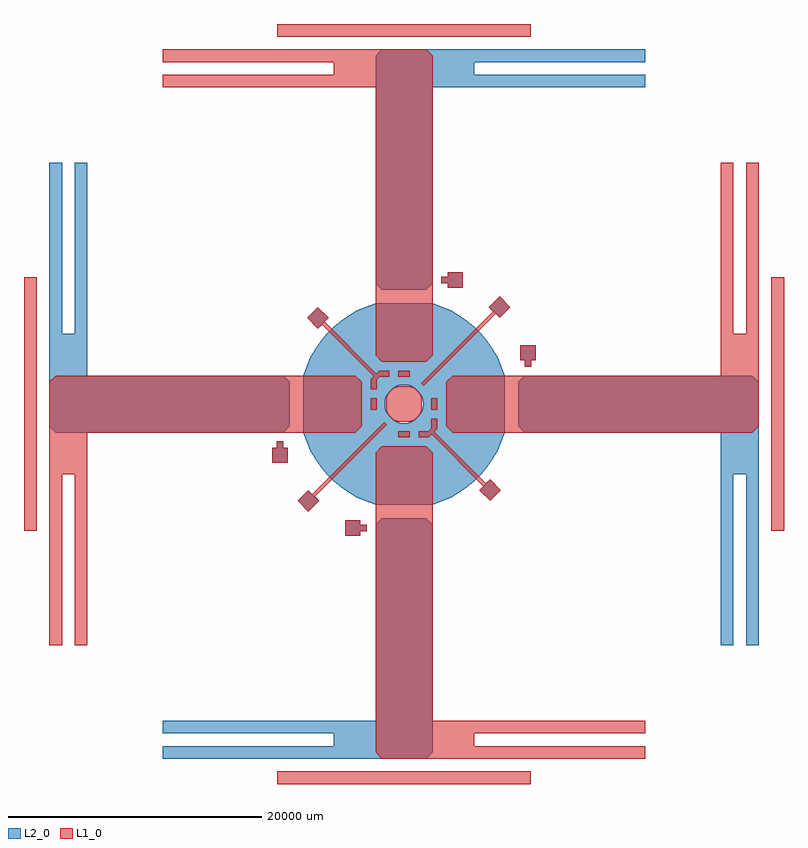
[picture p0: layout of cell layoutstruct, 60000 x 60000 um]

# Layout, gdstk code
import gdstk
lib = gdstk.Library(unit=1e-6, precision=1e-09)
def R(c, l, rs):  # rectangles x0, y0, x1, y1
    for r in rs: c.add(gdstk.rectangle(r[:2], r[2:], *l))
def P(c, l, *ps):  # polygons
    for p in ps: c.add(gdstk.Polygon(p, *l))
L1_0 = (1, 0)
L2_0 = (2, 0)

layoutstruct = lib.new_cell('layoutstruct')
R(layoutstruct, L1_0, [(-10000,-30000,10000,-29000), (-30000,-10000,-29000,10000), (29000,-10000,30000,10000), (-450,-2632.107,450,-2132.107), (-2632.107,-450,-2132.107,450), (2132.107,-450,2632.107,450), (-450,2132.107,450,2632.107), (-10000,29000,10000,30000)])
P(layoutstruct, L1_0, [(-3350,-1750),(-3350,1750),(-3850,2250),(-27500,2250),(-28000,1750),(-28000,-19050),(-27000,-19050),(-27000,-5550),(-26000,-5550),(-26000,-19050),(-25000,-19050),(-25000,-2250),(-3850,-2250)],
  [(1750,-3350),(-1750,-3350),(-2250,-3850),(-2250,-27500),(-1750,-28000),(19050,-28000),(19050,-27000),(5550,-27000),(5550,-26000),(19050,-26000),(19050,-25000),(2250,-25000),(2250,-3850)],
  [(-1750,3350),(1750,3350),(2250,3850),(2250,27500),(1750,28000),(-19050,28000),(-19050,27000),(-5550,27000),(-5550,26000),(-19050,26000),(-19050,25000),(-2250,25000),(-2250,3850)],
  [(1414.214,-500),(1414.214,500),(1268.793,800.103),(1060.66,1060.66),(800.103,1268.793),(500,1414.214),(-500,1414.214),(-800.103,1268.793),(-1060.66,1060.66),(-1268.793,800.103),(-1414.214,500),(-1414.214,-500),(-1268.793,-800.103),(-1060.66,-1060.66),(-800.103,-1268.793),(-500,-1414.214),(500,-1414.214),(800.103,-1268.793),(1060.66,-1060.66),(1268.793,-800.103)],
  [(3350,1750),(3350,-1750),(3850,-2250),(27500,-2250),(28000,-1750),(28000,19050),(27000,19050),(27000,5550),(26000,5550),(26000,19050),(25000,19050),(25000,2250),(3850,2250)],
  [(8398.528,7650),(7550,8498.528),(6701.472,7650),(7029.67,7321.802),(1363.934,1656.066),(1576.066,1443.934),(7241.802,7109.67),(7550,6801.472)],
  [(2132.107,-1932.045),(1907.905,-2132.107),(1150,-2132.107),(1150,-2632.107),(1950,-2632.107),(2178.953,-2403.154),(6257,-6481.202),(5946.73,-6792.365),(6795.258,-7640.893),(7643.786,-6792.365),(6795.258,-5943.837),(6469.132,-6269.07),(2391.085,-2191.022),(2632.107,-1950),(2632.107,-1150),(2132.107,-1150)],
  [(-2132.107,1932.045),(-1907.905,2132.107),(-1150,2132.107),(-1150,2632.107),(-1950,2632.107),(-2178.952,2403.154),(-6257,6481.202),(-5946.73,6792.365),(-6795.258,7640.893),(-7643.786,6792.365),(-6795.258,5943.837),(-6469.132,6269.07),(-2391.084,2191.022),(-2632.107,1950),(-2632.107,1150),(-2132.107,1150)],
  [(-8398.528,-7650),(-7550,-8498.528),(-6701.472,-7650),(-7029.67,-7321.802),(-1363.934,-1656.066),(-1576.066,-1443.934),(-7241.802,-7109.67),(-7550,-6801.472)],
  [(7550,6801.472),(8398.528,7650),(7550,8498.528),(6701.472,7650)],
  [(10387.254,4650),(9187.254,4650),(9187.254,3450),(9537.254,3450),(9537.254,2950),(10037.254,2950),(10037.254,3450),(10387.254,3450)],
  [(-10387.254,-4650),(-9187.254,-4650),(-9187.254,-3450),(-9537.254,-3450),(-9537.254,-2950),(-10037.254,-2950),(-10037.254,-3450),(-10387.254,-3450)],
  [(4650,10387.254),(3450,10387.254),(3450,10037.254),(2950,10037.254),(2950,9537.254),(3450,9537.254),(3450,9187.254),(4650,9187.254)],
  [(-4650,-10387.254),(-3450,-10387.254),(-3450,-10037.254),(-2950,-10037.254),(-2950,-9537.254),(-3450,-9537.254),(-3450,-9187.254),(-4650,-9187.254)])
P(layoutstruct, L2_0, [(-9037.254,-1750),(-9037.254,1750),(-9537.254,2250),(-25000,2250),(-25000,19050),(-26000,19050),(-26000,5550),(-27000,5550),(-27000,19050),(-28000,19050),(-28000,-1750),(-27500,-2250),(-9537.254,-2250)],
  [(7937.254,-2250),(7937.254,2250),(7695.265,2974.12),(7387.372,3672.769),(7016.211,4339.964),(6584.961,4969.989),(6097.315,5557.45),(5557.45,6097.315),(4969.989,6584.961),(4339.964,7016.211),(3672.769,7387.372),(2974.12,7695.265),(2250,7937.254),(-2250,7937.254),(-2974.12,7695.265),(-3672.769,7387.372),(-4339.964,7016.211),(-4969.989,6584.961),(-5557.45,6097.315),(-6097.315,5557.45),(-6584.961,4969.989),(-7016.211,4339.964),(-7387.372,3672.769),(-7695.265,2974.12),(-7937.254,2250),(-7937.254,0),(-1500,0),(-1462.392,333.781),(-1351.453,650.826),(-1172.747,935.235),(-935.235,1172.747),(-650.826,1351.453),(-333.781,1462.392),(0,1500),(333.781,1462.392),(650.826,1351.453),(935.235,1172.747),(1172.747,935.235),(1351.453,650.826),(1462.392,333.781),(1500,0),(1462.392,-333.781),(1351.453,-650.826),(1172.747,-935.235),(935.235,-1172.747),(650.826,-1351.453),(333.781,-1462.392),(0,-1500),(-333.781,-1462.392),(-650.826,-1351.453),(-935.235,-1172.747),(-1172.747,-935.235),(-1351.453,-650.826),(-1462.392,-333.781),(-1500,0),(-7937.254,0),(-7937.254,-2250),(-7695.265,-2974.12),(-7387.372,-3672.769),(-7016.211,-4339.964),(-6584.961,-4969.989),(-6097.315,-5557.45),(-5557.45,-6097.315),(-4969.989,-6584.961),(-4339.964,-7016.211),(-3672.769,-7387.372),(-2974.12,-7695.265),(-2250,-7937.254),(2250,-7937.254),(2974.12,-7695.265),(3672.769,-7387.372),(4339.964,-7016.211),(4969.989,-6584.961),(5557.45,-6097.315),(6097.315,-5557.45),(6584.961,-4969.989),(7016.211,-4339.964),(7387.372,-3672.769),(7695.265,-2974.12)],
  [(9037.254,1750),(9037.254,-1750),(9537.254,-2250),(25000,-2250),(25000,-19050),(26000,-19050),(26000,-5550),(27000,-5550),(27000,-19050),(28000,-19050),(28000,1750),(27500,2250),(9537.254,2250)],
  [(-1750,9037.254),(1750,9037.254),(2250,9537.254),(2250,25000),(19050,25000),(19050,26000),(5550,26000),(5550,27000),(19050,27000),(19050,28000),(-1750,28000),(-2250,27500),(-2250,9537.254)],
  [(1750,-9037.254),(-1750,-9037.254),(-2250,-9537.254),(-2250,-25000),(-19050,-25000),(-19050,-26000),(-5550,-26000),(-5550,-27000),(-19050,-27000),(-19050,-28000),(1750,-28000),(2250,-27500),(2250,-9537.254)],
  [(10387.254,4650),(9187.254,4650),(9187.254,3450),(9537.254,3450),(9537.254,2950),(10037.254,2950),(10037.254,3450),(10387.254,3450)],
  [(7643.786,-6792.365),(6795.258,-5943.837),(5946.73,-6792.365),(6795.258,-7640.893)],
  [(-7643.786,6792.365),(-6795.258,5943.837),(-5946.73,6792.365),(-6795.258,7640.893)],
  [(7550,6801.472),(8398.528,7650),(7550,8498.528),(6701.472,7650)],
  [(-7550,-6801.472),(-8398.528,-7650),(-7550,-8498.528),(-6701.472,-7650)],
  [(4650,10387.254),(3450,10387.254),(3450,10037.254),(2950,10037.254),(2950,9537.254),(3450,9537.254),(3450,9187.254),(4650,9187.254)],
  [(-4650,-10387.254),(-3450,-10387.254),(-3450,-10037.254),(-2950,-10037.254),(-2950,-9537.254),(-3450,-9537.254),(-3450,-9187.254),(-4650,-9187.254)],
  [(-10387.254,-4650),(-9187.254,-4650),(-9187.254,-3450),(-9537.254,-3450),(-9537.254,-2950),(-10037.254,-2950),(-10037.254,-3450),(-10387.254,-3450)])

lib.write_gds('layoutstruct.gds')
